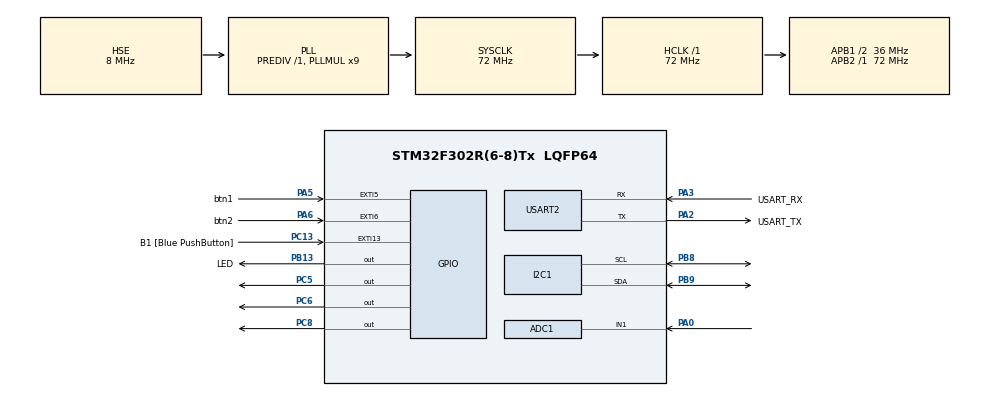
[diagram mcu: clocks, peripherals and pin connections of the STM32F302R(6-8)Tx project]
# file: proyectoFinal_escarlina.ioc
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ADC1.Channel-0\#ChannelRegularConversion=ADC_CHANNEL_1
ADC1.ContinuousConvMode=DISABLE
ADC1.DMAContinuousRequests=DISABLE
ADC1.NbrOfConversionFlag=1
ADC1.Offset-0\#ChannelRegularConversion=0
ADC1.OffsetNumber-0\#ChannelRegularConversion=ADC_OFFSET_NONE
ADC1.Rank-0\#ChannelRegularConversion=1
ADC1.SamplingTime-0\#ChannelRegularConversion=ADC_SAMPLETIME_601CYCLES_5
ADC1.SamplingTimeOPAMP-0\#ChannelRegularConversion=ADC_SAMPLETIME_61CYCLES_5
ADC1.SubFamily=STM32F302x8
ADC1.master=1
Mcu.Family=STM32F3
Mcu.Name=STM32F302R(6-8)Tx
Mcu.Package=LQFP64
NVIC.ADC1_IRQn=true\:0\:0\:false\:false\:true\:true\:true\:true
NVIC.EXTI15_10_IRQn=true\:0\:0\:false\:false\:true\:true\:true\:true
NVIC.EXTI9_5_IRQn=true\:0\:0\:false\:false\:true\:true\:true\:true
NVIC.PriorityGroup=NVIC_PRIORITYGROUP_0
PA0.Mode=IN1-Single-Ended
PA0.Signal=ADC1_IN1
PA13.GPIO_Label=TMS
PA13.Mode=Serial_Wire
PA13.Signal=SYS_JTMS-SWDIO
PA14.GPIO_Label=TCK
PA14.Mode=Serial_Wire
PA14.Signal=SYS_JTCK-SWCLK
PA2.GPIO_Label=USART_TX
PA2.GPIO_Mode=GPIO_MODE_AF_PP
PA2.GPIO_PuPd=GPIO_NOPULL
PA2.GPIO_Speed=GPIO_SPEED_FREQ_LOW
PA2.Mode=Asynchronous
PA2.Signal=USART2_TX
PA3.GPIO_Label=USART_RX
PA3.GPIO_Mode=GPIO_MODE_AF_PP
PA3.GPIO_PuPd=GPIO_NOPULL
PA3.GPIO_Speed=GPIO_SPEED_FREQ_LOW
PA3.Mode=Asynchronous
PA3.Signal=USART2_RX
PA5.GPIO_Label=btn1
PA5.GPIO_PuPd=GPIO_PULLUP
PA5.Signal=GPXTI5
PA6.GPIO_Label=btn2
PA6.GPIO_PuPd=GPIO_PULLUP
PA6.Signal=GPXTI6
PB13.GPIO_Label=LED
PB13.Signal=GPIO_Output
PB3.GPIO_Label=SWO
PB3.Mode=Trace_Asynchronous_SW
PB3.Signal=SYS_JTDO-TRACESWO
PB8.Mode=I2C
PB8.Signal=I2C1_SCL
PB9.Mode=I2C
PB9.Signal=I2C1_SDA
PC13.GPIO_Label=B1 [Blue PushButton]
PC13.GPIO_ModeDefaultEXTI=GPIO_MODE_IT_FALLING
PC13.Signal=GPXTI13
PC14\ -\ OSC32_IN.Signal=RCC_OSC32_IN
PC15\ -\ OSC32_OUT.Signal=RCC_OSC32_OUT
PC5.Signal=GPIO_Output
PC6.Signal=GPIO_Output
PC8.Signal=GPIO_Output
PF0-OSC_IN.Mode=HSE-External-Oscillator
PF0-OSC_IN.Signal=RCC_OSC_IN
PF1-OSC_OUT.Mode=HSE-External-Oscillator
PF1-OSC_OUT.Signal=RCC_OSC_OUT
ProjectManager.HeapSize=0x200
ProjectManager.StackSize=0x400
ProjectManager.TargetToolchain=STM32CubeIDE
RCC.AHBFreq_Value=72000000
RCC.APB1CLKDivider=RCC_HCLK_DIV2
RCC.APB1Freq_Value=36000000
RCC.APB1TimFreq_Value=72000000
RCC.APB2Freq_Value=72000000
RCC.APB2TimFreq_Value=72000000
RCC.CortexFreq_Value=72000000
RCC.HCLKFreq_Value=72000000
RCC.HSE_VALUE=8000000
RCC.HSI_VALUE=8000000
RCC.LSE_VALUE=32768
RCC.PLLM=8
RCC.PLLMUL=RCC_PLL_MUL9
RCC.PLLN=336
RCC.PLLP=RCC_PLLP_DIV4
RCC.PLLQ=7
RCC.PLLSourceVirtual=RCC_PLLSOURCE_HSE
RCC.SYSCLKFreq_VALUE=72000000
RCC.SYSCLKSourceVirtual=RCC_SYSCLKSOURCE_PLLCLK
RCC.USBFreq_Value=72000000
USART2.VirtualMode-Asynchronous=VM_ASYNC
board=NUCLEO-F302R8

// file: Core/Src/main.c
/* USER CODE BEGIN Header */
/**
  ******************************************************************************
  * @file           : main.c
  * @brief          : Main program body
  ******************************************************************************
  * @attention
  *
  * Copyright (c) 2024 STMicroelectronics.
  * All rights reserved.
  *
  * This software is licensed under terms that can be found in the LICENSE file
  * in the root directory of this software component.
  * If no LICENSE file comes with this software, it is provided AS-IS.
  *
  ******************************************************************************
  *
  *Institucion: Itla.
  *Materia: microcontroladores.
  *Proyecto:tetris.
  *Nombre:
  *Matricula:
  *seccion: miercoles.
  *
  *
  ******************************************************************************
  */
/* USER CODE END Header */
#include "main.h"

/* USER CODE BEGIN Includes */
#include"matriztarea1.h"
#include"lcdjorge.h"
#include <stdlib.h>
#include <time.h>
/* USER CODE END Includes */

ADC_HandleTypeDef hadc1;
DMA_HandleTypeDef hdma_adc1;

I2C_HandleTypeDef hi2c1;

UART_HandleTypeDef huart2;

void SystemClock_Config(void);
static void MX_GPIO_Init(void);
static void MX_DMA_Init(void);
static void MX_USART2_UART_Init(void);
static void MX_I2C1_Init(void);
static void MX_ADC1_Init(void);

/* USER CODE BEGIN 0 */
// aqui defino las formas de cada pieza
uint8_t pieza_1[8] = { 0b00001111 };
uint8_t pieza_2[8] = { 0b00001000, 0b00001000, 0b00001110 };
uint8_t pieza_3[8] = { 0b00000100, 0b00000100, 0b00001110 };
uint8_t pieza_4[8] = { 0b00001100, 0b00001100 };
uint8_t pieza_5[8] = { 0b00001100, 0b00011000 };
uint8_t pieza_6[8] = { 0b00001100, 0b00011100 };
uint8_t pieza_7[8] = { 0b00011000, 0b00001100 };

// Matriz de juego
uint8_t matriz_tablero[8][8] = { 0 };

// Variables globales
int movimiento_piezas = 0;
int score = 0;
// Función para mostrar la pieza en la matriz de juego
void mostrar_pieza(uint8_t piezas[8], int fila_inicial, int columna_inicial) {
    for (int i = 0; i < 8; i++) {
        setrow(fila_inicial - i, piezas[i] << columna_inicial);
    }
}

// Función para mover la pieza hacia abajo en la matriz de juego
void mover_pieza_abajo(const uint8_t *pieza, int fila, int columna) {
    for (int i = 0; i < 8; i++) {
        matriz_tablero[fila][columna] |= pieza[i] << columna;
        fila--;
    }
}
int puntos =0;
int fila_llena = 0;
int filas_completas = 0;
//aqui verifico si hay bvasrias piezas juntas para aumentar puntuacion
void verificar_filas_llenas() {

    for (int i = 0; i < 8; i++) {
        fila_llena = 1;
        for (int j = 0; j < 8; j++) {
            if (matriz_tablero[i][j] == 0) {
                fila_llena = 0;
                puntos++;
                break;
            }
        }
        if (fila_llena) {
            filas_completas++;
            for (int j = 0; j < 8; j++) {
                matriz_tablero[i][j] = 0;
            }
        }
    }

    if (filas_completas > 0) {

        reiniciar_juego(); //reinicio el juego si se lleno cualquiera de las filas
    }
}

// funcion de reinicio del juego
void reiniciar_juego() {
    // muestro el game over del juego

    lcd_enviar("Game Over         ", 0, 0);
    max_clear();
    write_char('X', 1);
    HAL_Delay(500);

    write_char(' ', 1);
    HAL_Delay(500);

    write_char('X', 1);
    HAL_Delay(500);

    write_char(' ', 1);
   HAL_Delay(500);
    max_clear();
    HAL_Delay(2000);
    lcd_clear();

    //rteinicio la matriz
    for (int k = 0; k < 8; k++) {
        for (int l = 0; l < 8; l++) {
            matriz_tablero[k][l] = 0;
        }
    }
    // Reinicia la puntuación
    puntos = 0;
    // m,uestro la puntuacion en l alcd
    lcd_enviar("Tetris Escarlina", 0, 0);
    lcd_enviar("Score:", 1, 0);
    lcd_enviar_int(puntos, 1, 7);
}
uint32_t joystick;
void programa_principal(void){
	 if(joystick == 0){
				movimiento_piezas = 1;
		  }
		  else if(joystick <= 3000 && joystick>=4000){
			  movimiento_piezas = -1;
		  }
	       //aqui se generan laas piezas de forma aleatorio o se llaman
	        int piezas_ramdom = rand() % 7;
	        const uint8_t *piezas[] = { pieza_1, pieza_2, pieza_3, pieza_4, pieza_5, pieza_6, pieza_7 };
	        const uint8_t *sel_piezas = piezas[piezas_ramdom];
	        int fila_inicial = 0;
	        int columna_inicial = rand() % 6;

	        while (fila_inicial < 8) {
	            // Muestra la pieza en la posición actual del tablero
	            mostrar_pieza(sel_piezas, fila_inicial, columna_inicial);
	            HAL_Delay(800);

	            // Verifica si la pieza ha alcanzado el fondo o una posición ocupada en la matriz
	            if (fila_inicial == 7 || matriz_tablero[fila_inicial + 1][columna_inicial] != 0) {
	                // Agrega la pieza al tablero en la fila actual
	                mover_pieza_abajo(sel_piezas, fila_inicial, columna_inicial);

	                // Verifica si alguna fila está completa y aumenta la puntuacion del juego
	                verificar_filas_llenas();

	                //mostramos la puntuacion
	                lcd_enviar_int(puntos, 1, 7);

	               //verificamos si el juego debe reiniciarse.
	                if (matriz_tablero[0][columna_inicial] != 0) {
	                    reiniciar_juego();
	                }

	                break; // Salgo de mi  bucle
	            } else {
	                fila_inicial++; //muevo mi piexa hacia abajo
	            }

	            // verifico si el joystick cambio su valor analogo
	            if (movimiento_piezas > 0) {
	                columna_inicial++;
	                movimiento_piezas = 0; // reinicio el movimiento
	            }
	            // verificoi de igual formas el joystick
	            else if (movimiento_piezas < 0) {
	                columna_inicial--;
	                movimiento_piezas = 0; // reinicio el movimiento
	            }
	        }

}
/* USER CODE END 0 */

int main(void)
{
  /* USER CODE BEGIN 1 */
	srand((unsigned int)time(NULL));

  /* USER CODE END 1 */

  /* MCU Configuration--------------------------------------------------------*/

  /* Reset of all peripherals, Initializes the Flash interface and the Systick. */
  HAL_Init();

  /* Configure the system clock */
  SystemClock_Config();

  /* Initialize all configured peripherals */
  MX_GPIO_Init();
  MX_DMA_Init();
  MX_USART2_UART_Init();
  MX_I2C1_Init();
  MX_ADC1_Init();
  /* USER CODE BEGIN 2 */
  HAL_ADC_Start_DMA(&hadc1, &joystick, 1);
   max_init(0x02);

  lcd_init();
  lcd_enviar("Tetris Escarlina", 0, 0);
  lcd_enviar("Score:", 1, 0);
  /* USER CODE END 2 */

  /* Infinite loop */
  /* USER CODE BEGIN WHILE */
  while (1) {

	    programa_principal();
        HAL_Delay(500); // delay entre cada pieza
    }
  /* USER CODE END 3 */
}

void SystemClock_Config(void)
{
  RCC_OscInitTypeDef RCC_OscInitStruct = {0};
  RCC_ClkInitTypeDef RCC_ClkInitStruct = {0};
  RCC_PeriphCLKInitTypeDef PeriphClkInit = {0};

  /** Initializes the RCC Oscillators according to the specified parameters
  * in the RCC_OscInitTypeDef structure.
  */
  RCC_OscInitStruct.OscillatorType = RCC_OSCILLATORTYPE_HSI|RCC_OSCILLATORTYPE_HSE;
  RCC_OscInitStruct.HSEState = RCC_HSE_ON;
  RCC_OscInitStruct.HSEPredivValue = RCC_HSE_PREDIV_DIV1;
  RCC_OscInitStruct.HSIState = RCC_HSI_ON;
  RCC_OscInitStruct.HSICalibrationValue = RCC_HSICALIBRATION_DEFAULT;
  RCC_OscInitStruct.PLL.PLLState = RCC_PLL_ON;
  RCC_OscInitStruct.PLL.PLLSource = RCC_PLLSOURCE_HSE;
  RCC_OscInitStruct.PLL.PLLMUL = RCC_PLL_MUL9;
  if (HAL_RCC_OscConfig(&RCC_OscInitStruct) != HAL_OK)
  {
    Error_Handler();
  }

  /** Initializes the CPU, AHB and APB buses clocks
  */
  RCC_ClkInitStruct.ClockType = RCC_CLOCKTYPE_HCLK|RCC_CLOCKTYPE_SYSCLK
                              |RCC_CLOCKTYPE_PCLK1|RCC_CLOCKTYPE_PCLK2;
  RCC_ClkInitStruct.SYSCLKSource = RCC_SYSCLKSOURCE_PLLCLK;
  RCC_ClkInitStruct.AHBCLKDivider = RCC_SYSCLK_DIV1;
  RCC_ClkInitStruct.APB1CLKDivider = RCC_HCLK_DIV2;
  RCC_ClkInitStruct.APB2CLKDivider = RCC_HCLK_DIV1;

  if (HAL_RCC_ClockConfig(&RCC_ClkInitStruct, FLASH_LATENCY_2) != HAL_OK)
  {
    Error_Handler();
  }
  PeriphClkInit.PeriphClockSelection = RCC_PERIPHCLK_I2C1|RCC_PERIPHCLK_ADC1;
  PeriphClkInit.I2c1ClockSelection = RCC_I2C1CLKSOURCE_HSI;
  PeriphClkInit.Adc1ClockSelection = RCC_ADC1PLLCLK_DIV1;

  if (HAL_RCCEx_PeriphCLKConfig(&PeriphClkInit) != HAL_OK)
  {
    Error_Handler();
  }
}

static void MX_ADC1_Init(void)
{

  ADC_ChannelConfTypeDef sConfig = {0};

  /** Common config
  */
  hadc1.Instance = ADC1;
  hadc1.Init.ClockPrescaler = ADC_CLOCK_ASYNC_DIV1;
  hadc1.Init.Resolution = ADC_RESOLUTION_12B;
  hadc1.Init.ScanConvMode = ADC_SCAN_DISABLE;
  hadc1.Init.ContinuousConvMode = ENABLE;
  hadc1.Init.DiscontinuousConvMode = DISABLE;
  hadc1.Init.ExternalTrigConvEdge = ADC_EXTERNALTRIGCONVEDGE_NONE;
  hadc1.Init.ExternalTrigConv = ADC_SOFTWARE_START;
  hadc1.Init.DataAlign = ADC_DATAALIGN_RIGHT;
  hadc1.Init.NbrOfConversion = 1;
  hadc1.Init.DMAContinuousRequests = ENABLE;
  hadc1.Init.EOCSelection = ADC_EOC_SINGLE_CONV;
  hadc1.Init.LowPowerAutoWait = DISABLE;
  hadc1.Init.Overrun = ADC_OVR_DATA_OVERWRITTEN;
  if (HAL_ADC_Init(&hadc1) != HAL_OK)
  {
    Error_Handler();
  }

  /** Configure Regular Channel
  */
  sConfig.Channel = ADC_CHANNEL_1;
  sConfig.Rank = ADC_REGULAR_RANK_1;
  sConfig.SingleDiff = ADC_SINGLE_ENDED;
  sConfig.SamplingTime = ADC_SAMPLETIME_601CYCLES_5;
  sConfig.OffsetNumber = ADC_OFFSET_NONE;
  sConfig.Offset = 0;
  if (HAL_ADC_ConfigChannel(&hadc1, &sConfig) != HAL_OK)
  {
    Error_Handler();
  }

}

static void MX_I2C1_Init(void)
{

  hi2c1.Instance = I2C1;
  hi2c1.Init.Timing = 0x2000090E;
  hi2c1.Init.OwnAddress1 = 0;
  hi2c1.Init.AddressingMode = I2C_ADDRESSINGMODE_7BIT;
  hi2c1.Init.DualAddressMode = I2C_DUALADDRESS_DISABLE;
  hi2c1.Init.OwnAddress2 = 0;
  hi2c1.Init.OwnAddress2Masks = I2C_OA2_NOMASK;
  hi2c1.Init.GeneralCallMode = I2C_GENERALCALL_DISABLE;
  hi2c1.Init.NoStretchMode = I2C_NOSTRETCH_DISABLE;
  if (HAL_I2C_Init(&hi2c1) != HAL_OK)
  {
    Error_Handler();
  }

  /** Configure Analogue filter
  */
  if (HAL_I2CEx_ConfigAnalogFilter(&hi2c1, I2C_ANALOGFILTER_ENABLE) != HAL_OK)
  {
    Error_Handler();
  }

  /** Configure Digital filter
  */
  if (HAL_I2CEx_ConfigDigitalFilter(&hi2c1, 0) != HAL_OK)
  {
    Error_Handler();
  }

}

static void MX_USART2_UART_Init(void)
{

  huart2.Instance = USART2;
  huart2.Init.BaudRate = 38400;
  huart2.Init.WordLength = UART_WORDLENGTH_8B;
  huart2.Init.StopBits = UART_STOPBITS_1;
  huart2.Init.Parity = UART_PARITY_NONE;
  huart2.Init.Mode = UART_MODE_TX_RX;
  huart2.Init.HwFlowCtl = UART_HWCONTROL_NONE;
  huart2.Init.OverSampling = UART_OVERSAMPLING_16;
  huart2.Init.OneBitSampling = UART_ONE_BIT_SAMPLE_DISABLE;
  huart2.AdvancedInit.AdvFeatureInit = UART_ADVFEATURE_NO_INIT;
  if (HAL_UART_Init(&huart2) != HAL_OK)
  {
    Error_Handler();
  }

}

static void MX_DMA_Init(void)
{

  /* DMA controller clock enable */
  __HAL_RCC_DMA1_CLK_ENABLE();

  /* DMA interrupt init */
  /* DMA1_Channel1_IRQn interrupt configuration */
  HAL_NVIC_SetPriority(DMA1_Channel1_IRQn, 0, 0);
  HAL_NVIC_EnableIRQ(DMA1_Channel1_IRQn);

}

static void MX_GPIO_Init(void)
{
  GPIO_InitTypeDef GPIO_InitStruct = {0};

  /* GPIO Ports Clock Enable */
  __HAL_RCC_GPIOC_CLK_ENABLE();
  __HAL_RCC_GPIOF_CLK_ENABLE();
  __HAL_RCC_GPIOA_CLK_ENABLE();
  __HAL_RCC_GPIOB_CLK_ENABLE();

  /*Configure GPIO pin Output Level */
  HAL_GPIO_WritePin(GPIOC, GPIO_PIN_5|GPIO_PIN_6|GPIO_PIN_8, GPIO_PIN_RESET);

  /*Configure GPIO pin Output Level */
  HAL_GPIO_WritePin(LED_GPIO_Port, LED_Pin, GPIO_PIN_RESET);

  /*Configure GPIO pin : B1_Pin */
  GPIO_InitStruct.Pin = B1_Pin;
  GPIO_InitStruct.Mode = GPIO_MODE_IT_FALLING;
  GPIO_InitStruct.Pull = GPIO_NOPULL;
  HAL_GPIO_Init(B1_GPIO_Port, &GPIO_InitStruct);

  /*Configure GPIO pins : btn1_Pin btn2_Pin */
  GPIO_InitStruct.Pin = btn1_Pin|btn2_Pin;
  GPIO_InitStruct.Mode = GPIO_MODE_IT_RISING;
  GPIO_InitStruct.Pull = GPIO_PULLUP;
  HAL_GPIO_Init(GPIOA, &GPIO_InitStruct);

  /*Configure GPIO pins : PC5 PC6 PC8 */
  GPIO_InitStruct.Pin = GPIO_PIN_5|GPIO_PIN_6|GPIO_PIN_8;
  GPIO_InitStruct.Mode = GPIO_MODE_OUTPUT_PP;
  GPIO_InitStruct.Pull = GPIO_NOPULL;
  GPIO_InitStruct.Speed = GPIO_SPEED_FREQ_LOW;
  HAL_GPIO_Init(GPIOC, &GPIO_InitStruct);

  /*Configure GPIO pin : LED_Pin */
  GPIO_InitStruct.Pin = LED_Pin;
  GPIO_InitStruct.Mode = GPIO_MODE_OUTPUT_PP;
  GPIO_InitStruct.Pull = GPIO_NOPULL;
  GPIO_InitStruct.Speed = GPIO_SPEED_FREQ_LOW;
  HAL_GPIO_Init(LED_GPIO_Port, &GPIO_InitStruct);

  /* EXTI interrupt init*/
  HAL_NVIC_SetPriority(EXTI9_5_IRQn, 0, 0);
  HAL_NVIC_EnableIRQ(EXTI9_5_IRQn);

  HAL_NVIC_SetPriority(EXTI15_10_IRQn, 0, 0);
  HAL_NVIC_EnableIRQ(EXTI15_10_IRQn);

}

/* USER CODE BEGIN 4 */
void HAL_GPIO_EXTI_Callback(uint16_t GPIO_Pin)
{
	if (GPIO_Pin == btn1_Pin){
		movimiento_piezas = 1;

	}
	if (GPIO_Pin == btn2_Pin){
		movimiento_piezas = -1;

		}
}
/* USER CODE END 4 */

void Error_Handler(void)
{
  __disable_irq();
  while (1)
  {
  }
}
